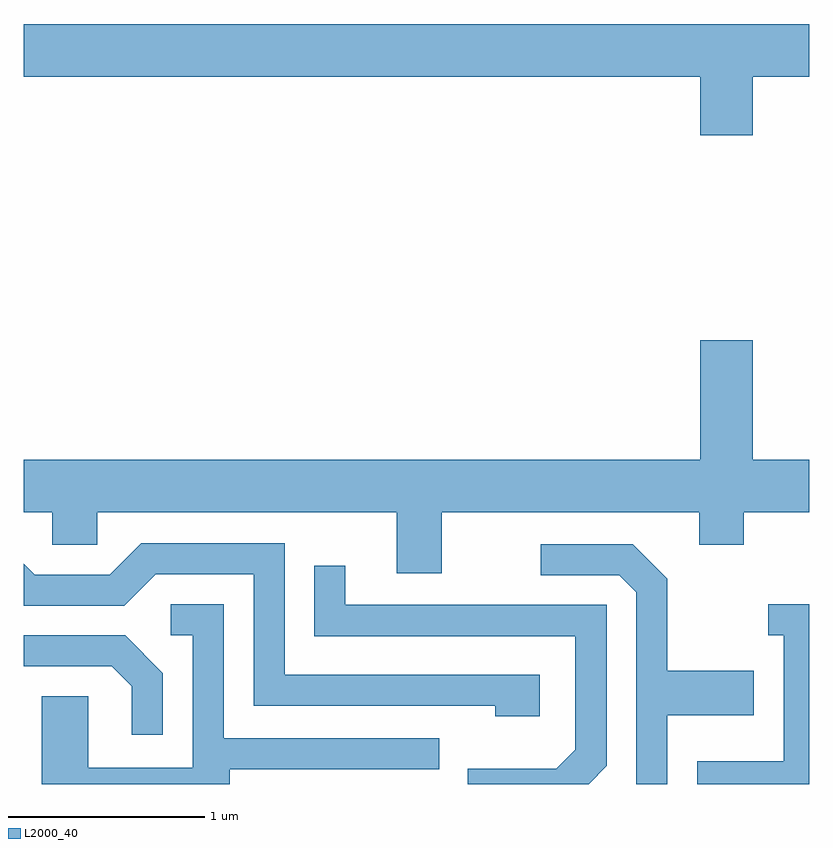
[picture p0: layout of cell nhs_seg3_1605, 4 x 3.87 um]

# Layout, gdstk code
import gdstk
lib = gdstk.Library(unit=1e-6, precision=1e-09)
def P(c, l, *ps):  # polygons
    for p in ps: c.add(gdstk.Polygon(p, *l))
L2000_40 = (2000, 40)

nhs_seg3_1605 = lib.new_cell('nhs_seg3_1605')
P(nhs_seg3_1605, L2000_40, [(235.324,1201.496),(235.611,1201.496),(235.611,1201.764),(231.611,1201.764),(231.611,1201.496),(235.056,1201.496),(235.056,1201.196),(235.324,1201.196)],
  [(231.611,1199.276),(231.756,1199.276),(231.756,1199.111),(231.984,1199.111),(231.984,1199.276),(233.511,1199.276),(233.511,1198.966),(233.739,1198.966),(233.739,1199.276),(235.051,1199.276),(235.051,1199.111),(235.279,1199.111),(235.279,1199.276),(235.611,1199.276),(235.611,1199.544),(235.324,1199.544),(235.324,1200.154),(235.056,1200.154),(235.056,1199.544),(231.611,1199.544)],
  [(234.239,1198.449),(232.939,1198.449),(232.939,1199.119),(232.209,1199.119),(232.049,1198.959),(231.667,1198.959),(231.611,1199.015),(231.611,1198.801),(232.122,1198.801),(232.282,1198.961),(232.781,1198.961),(232.781,1198.291),(234.011,1198.291),(234.011,1198.236),(234.239,1198.236)],
  [(234.889,1198.241),(235.329,1198.241),(235.329,1198.469),(234.889,1198.469),(234.889,1198.937),(234.712,1199.114),(234.243,1199.114),(234.243,1198.956),(234.644,1198.956),(234.731,1198.869),(234.731,1197.892),(234.889,1197.892)],
  [(234.579,1197.984),(234.579,1198.804),(233.249,1198.804),(233.249,1199.003),(233.091,1199.003),(233.091,1198.646),(234.421,1198.646),(234.421,1198.067),(234.324,1197.969),(233.871,1197.969),(233.871,1197.892),(234.488,1197.892)],
  [(232.659,1197.966),(233.728,1197.966),(233.728,1198.124),(232.629,1198.124),(232.629,1198.809),(232.358,1198.809),(232.358,1198.651),(232.471,1198.651),(232.471,1197.974),(231.939,1197.974),(231.939,1198.339),(231.701,1198.339),(231.701,1197.892),(232.659,1197.892)],
  [(235.611,1198.809),(235.403,1198.809),(235.403,1198.651),(235.481,1198.651),(235.481,1198.009),(235.041,1198.009),(235.041,1197.892),(235.611,1197.892)],
  [(232.319,1198.457),(232.127,1198.649),(231.611,1198.649),(231.611,1198.491),(232.059,1198.491),(232.161,1198.389),(232.161,1198.143),(232.319,1198.143)])

lib.write_gds('nhs_seg3_1605.gds')
